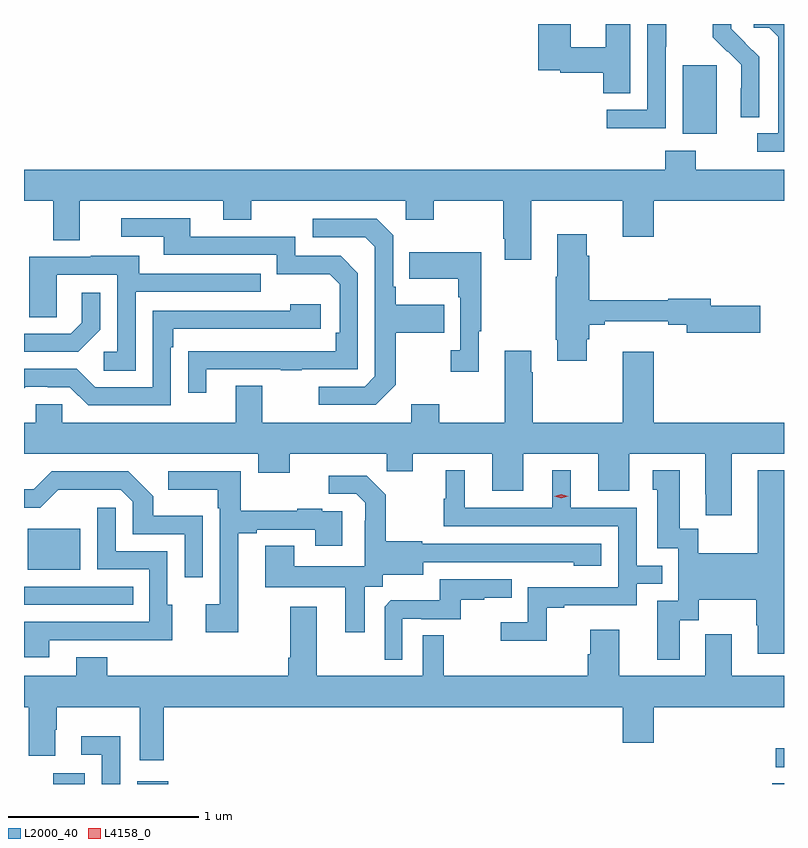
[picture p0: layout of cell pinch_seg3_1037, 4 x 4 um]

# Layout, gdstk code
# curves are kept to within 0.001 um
import gdstk
lib = gdstk.Library(unit=1e-6, precision=1e-09)
def R(c, l, rs):  # rectangles x0, y0, x1, y1
    for r in rs: c.add(gdstk.rectangle(r[:2], r[2:], *l))
def P(c, l, *ps):  # polygons
    for p in ps: c.add(gdstk.Polygon(p, *l))
L2000_40 = (2000, 40)
L4158_0 = (4158, 0)

pinch_seg3_1037 = lib.new_cell('pinch_seg3_1037')
R(pinch_seg3_1037, L2000_40, [(353.819,744.467,353.986,744.523), (354.26,744.467,354.424,744.481), (357.602,744.467,357.665,744.47), (357.621,744.555,357.665,744.654), (353.665,745.41,354.239,745.506), (353.684,745.595,353.962,745.81), (357.131,747.89,357.31,748.251)])
P(pinch_seg3_1037, L2000_40, [(356.857,748.467),(356.726,748.467),(356.726,748.345),(356.542,748.345),(356.542,748.467),(356.372,748.467),(356.372,748.223),(356.488,748.223),(356.488,748.211),(356.714,748.211),(356.714,748.102),(356.857,748.102)],
  [(357.665,748.467),(357.507,748.467),(357.507,748.446),(357.588,748.446),(357.635,748.399),(357.635,747.891),(357.525,747.891),(357.525,747.795),(357.665,747.795)],
  [(357.042,748.348),(357.045,748.348),(357.045,748.467),(356.946,748.467),(356.946,748.017),(356.733,748.017),(356.733,747.919),(357.042,747.919)],
  [(357.534,748.294),(357.388,748.442),(357.388,748.467),(357.289,748.467),(357.289,748.397),(357.366,748.32),(357.369,748.323),(357.44,748.253),(357.44,748.13),(357.438,748.13),(357.438,747.976),(357.534,747.976)],
  [(353.665,747.536),(353.819,747.536),(353.819,747.328),(353.959,747.328),(353.959,747.536),(354.713,747.536),(354.713,747.437),(354.861,747.437),(354.861,747.536),(355.674,747.536),(355.674,747.437),(355.821,747.437),(355.821,747.536),(356.188,747.536),(356.188,747.337),(356.195,747.337),(356.195,747.225),(356.335,747.225),(356.335,747.536),(356.816,747.536),(356.816,747.348),(356.98,747.348),(356.98,747.536),(357.665,747.536),(357.665,747.7),(357.201,747.7),(357.201,747.799),(357.041,747.799),(357.041,747.7),(353.665,747.7)],
  [(354.625,746.649),(355.015,746.649),(355.015,746.644),(355.127,746.644),(355.127,746.649),(355.422,746.649),(355.422,747.156),(355.332,747.246),(355.092,747.246),(355.092,747.348),(354.541,747.348),(354.541,747.444),(354.177,747.444),(354.177,747.348),(354.401,747.348),(354.401,747.252),(354.996,747.252),(354.996,747.149),(355.273,747.149),(355.326,747.096),(355.326,746.842),(355.306,746.842),(355.306,746.745),(354.529,746.744),(354.529,746.526),(354.625,746.526)],
  [(355.621,746.569),(355.621,746.842),(355.877,746.842),(355.877,746.989),(355.621,746.989),(355.621,747.085),(355.608,747.085),(355.608,747.354),(355.521,747.441),(355.185,747.441),(355.185,747.345),(355.461,747.345),(355.512,747.294),(355.512,746.613),(355.458,746.559),(355.215,746.559),(355.215,746.463),(355.515,746.463)],
  [(356.626,746.807),(356.639,746.807),(356.639,746.884),(356.722,746.884),(356.722,746.903),(357.056,746.903),(357.056,746.884),(357.152,746.884),(357.152,746.842),(357.541,746.842),(357.541,746.984),(357.28,746.984),(357.28,747.02),(357.056,747.02),(357.056,747.013),(356.639,747.013),(356.639,747.248),(356.626,747.248),(356.626,747.361),(356.471,747.361),(356.471,747.137),(356.464,747.137),(356.464,746.806),(356.471,746.806),(356.471,746.694),(356.626,746.694)],
  [(356.059,746.849),(356.071,746.849),(356.071,747.265),(355.693,747.265),(355.693,747.125),(355.95,747.125),(355.95,747.029),(355.962,747.029),(355.962,746.75),(355.911,746.75),(355.911,746.637),(356.059,746.637)],
  [(354.252,747.057),(354.911,747.057),(354.911,747.153),(354.271,747.153),(354.271,747.247),(354.017,747.247),(354.017,747.243),(353.693,747.243),(353.693,746.923),(353.838,746.923),(353.838,747.147),(354.156,747.147),(354.156,746.742),(354.084,746.742),(354.084,746.641),(354.252,746.641)],
  [(354.066,746.858),(354.066,747.052),(353.969,747.052),(353.969,746.895),(353.912,746.838),(353.665,746.838),(353.665,746.742),(353.95,746.742)],
  [(354.438,746.765),(354.451,746.765),(354.451,746.862),(355.228,746.862),(355.228,746.992),(355.067,746.992),(355.067,746.958),(354.342,746.958),(354.342,746.556),(354.039,746.556),(353.943,746.652),(353.665,746.652),(353.665,746.551),(353.673,746.559),(353.789,746.559),(353.789,746.556),(353.907,746.556),(354.003,746.46),(354.438,746.46)],
  [(357.391,746.204),(357.665,746.204),(357.665,746.368),(356.98,746.368),(356.98,746.743),(356.816,746.743),(356.816,746.368),(356.343,746.368),(356.343,746.633),(356.335,746.633),(356.335,746.746),(356.195,746.746),(356.195,746.368),(355.851,746.368),(355.851,746.467),(355.703,746.467),(355.703,746.368),(354.919,746.368),(354.919,746.563),(354.779,746.563),(354.779,746.368),(353.865,746.368),(353.865,746.466),(353.727,746.466),(353.727,746.368),(353.665,746.368),(353.665,746.204),(354.899,746.204),(354.899,746.105),(355.063,746.105),(355.063,746.204),(355.573,746.204),(355.573,746.114),(355.711,746.114),(355.711,746.204),(356.129,746.204),(356.129,746.01),(356.293,746.01),(356.293,746.204),(356.687,746.204),(356.687,746.01),(356.851,746.01),(356.851,746.204),(357.251,746.204),(357.251,745.993),(357.254,745.993),(357.254,745.881),(357.391,745.881)],
  [(356.415,745.395),(356.509,745.395),(356.509,745.407),(356.889,745.407),(356.889,745.521),(357.023,745.521),(357.023,745.617),(356.889,745.617),(356.889,745.92),(356.542,745.92),(356.542,746.119),(356.444,746.119),(356.444,745.92),(355.984,745.92),(355.984,746.119),(355.886,746.119),(355.886,745.968),(355.875,745.968),(355.875,745.824),(356.793,745.824),(356.793,745.503),(356.316,745.503),(356.316,745.318),(356.175,745.318),(356.175,745.22),(356.415,745.22)],
  [(357.115,745.33),(357.217,745.33),(357.217,745.436),(357.52,745.436),(357.52,745.302),(357.527,745.302),(357.527,745.152),(357.665,745.152),(357.665,746.119),(357.527,746.119),(357.527,745.681),(357.213,745.681),(357.213,745.811),(357.115,745.811),(357.115,746.119),(356.975,746.119),(356.975,746.016),(356.999,746.016),(356.999,745.707),(357.108,745.707),(357.108,745.431),(356.999,745.431),(356.999,745.122),(357.115,745.122)],
  [(354.793,745.788),(354.889,745.788),(354.889,745.806),(355.199,745.806),(355.199,745.722),(355.339,745.722),(355.339,745.902),(355.235,745.902),(355.235,745.915),(355.103,745.915),(355.103,745.904),(354.805,745.904),(354.805,746.112),(354.423,746.112),(354.423,746.015),(354.684,746.015),(354.684,745.919),(354.696,745.919),(354.696,745.414),(354.621,745.414),(354.621,745.266),(354.793,745.266)],
  [(354.606,745.879),(354.345,745.879),(354.345,745.982),(354.214,746.112),(353.811,746.112),(353.717,746.018),(353.665,746.018),(353.665,745.92),(353.751,745.92),(353.846,746.015),(354.174,746.016),(354.237,745.953),(354.237,745.782),(354.51,745.782),(354.51,745.554),(354.606,745.554)],
  [(355.459,745.504),(355.554,745.504),(355.554,745.568),(355.765,745.568),(355.765,745.635),(356.559,745.634),(356.559,745.616),(356.704,745.616),(356.704,745.731),(355.761,745.731),(355.761,745.744),(355.569,745.744),(355.569,745.989),(355.469,746.089),(355.269,746.089),(355.269,745.995),(355.413,745.995),(355.46,745.948),(355.46,745.853),(355.458,745.853),(355.458,745.612),(355.087,745.612),(355.087,745.721),(354.935,745.721),(354.935,745.502),(355.355,745.502),(355.355,745.266),(355.459,745.266)],
  [(353.797,745.224),(354.227,745.224),(354.227,745.223),(354.445,745.223),(354.445,745.41),(354.42,745.41),(354.42,745.692),(354.147,745.692),(354.147,745.921),(354.051,745.921),(354.051,745.596),(354.324,745.596),(354.324,745.32),(353.665,745.32),(353.665,745.134),(353.797,745.134)],
  [(355.656,745.338),(355.756,745.338),(355.756,745.335),(355.964,745.335),(355.964,745.437),(356.087,745.437),(356.087,745.448),(356.231,745.448),(356.231,745.545),(355.854,745.545),(355.854,745.433),(355.595,745.433),(355.563,745.401),(355.563,745.121),(355.656,745.121)],
  [(357.251,745.255),(357.251,745.036),(356.797,745.036),(356.797,745.279),(356.645,745.279),(356.645,745.149),(356.633,745.149),(356.633,745.036),(355.873,745.036),(355.873,745.25),(355.764,745.25),(355.764,745.036),(355.207,745.036),(355.207,745.399),(355.067,745.399),(355.067,745.132),(355.055,745.132),(355.055,745.036),(354.103,745.036),(354.103,745.135),(353.939,745.135),(353.939,745.036),(353.665,745.036),(353.665,744.872),(353.69,744.872),(353.69,744.615),(353.83,744.615),(353.83,744.752),(353.838,744.752),(353.838,744.872),(354.275,744.872),(354.275,744.591),(354.401,744.591),(354.401,744.872),(356.816,744.872),(356.816,744.684),(356.98,744.684),(356.98,744.872),(357.665,744.872),(357.665,745.036),(357.391,745.036),(357.391,745.255)],
  [(354.171,744.718),(353.967,744.718),(353.967,744.621),(354.075,744.621),(354.075,744.467),(354.171,744.467)])
P(pinch_seg3_1037, L4158_0, [(356.493,745.971),(356.457,745.981),(356.457,745.981),(356.457,745.982),(356.493,745.991),(356.529,745.982),(356.529,745.981),(356.529,745.981)])

lib.write_gds('pinch_seg3_1037.gds')
